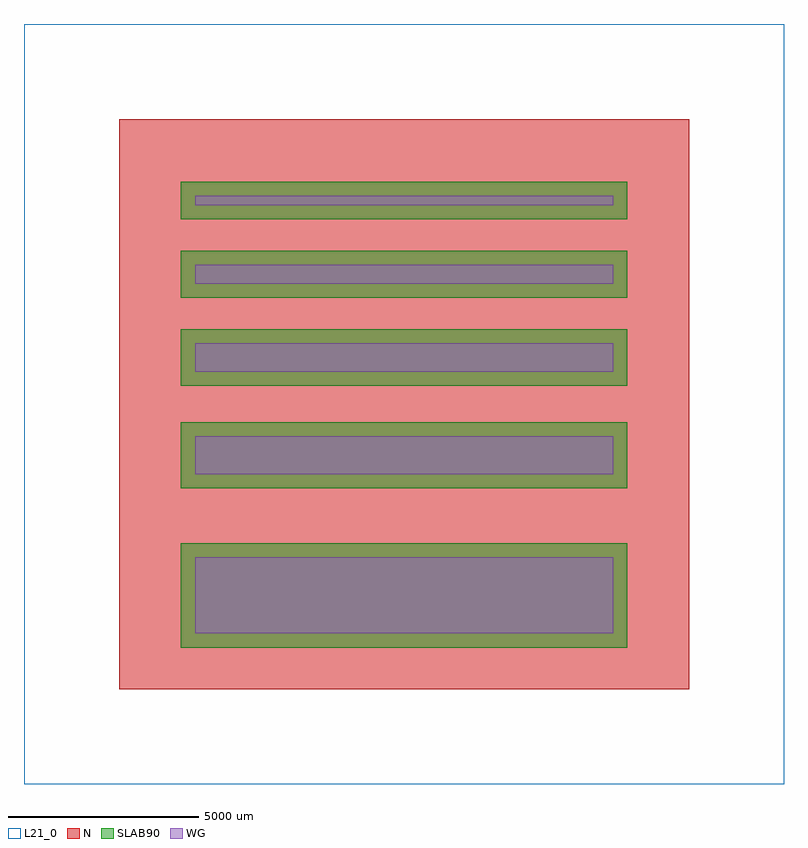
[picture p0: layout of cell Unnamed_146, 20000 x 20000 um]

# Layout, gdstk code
import gdstk
lib = gdstk.Library(unit=1e-6, precision=1e-09)
def R(c, l, rs):  # rectangles x0, y0, x1, y1
    for r in rs: c.add(gdstk.rectangle(r[:2], r[2:], *l))
WG = (1, 0)
SLAB90 = (3, 0)
N = (20, 0)
L21_0 = (21, 0)

rectangle_s11000_1000_l_ = lib.new_cell('rectangle_S11000_1000_L_7d1c9873')
R(rectangle_s11000_1000_l_, WG, [(0,0,11000,1000)])

rectangle_s11742p34_992_ = lib.new_cell('rectangle_S11742p34_992_5e8ff1e2')
R(rectangle_s11742p34_992_, SLAB90, [(0,0,11742.34,992.34)])

rectangle_s11000_250_l1_ = lib.new_cell('rectangle_S11000_250_L1_35af61c5')
R(rectangle_s11000_250_l1_, WG, [(0,0,11000,250)])

rectangle_s11742p34_124_ = lib.new_cell('rectangle_S11742p34_124_35634cfc')
R(rectangle_s11742p34_124_, SLAB90, [(0,0,11742.34,1242.34)])

rectangle_s11742p34_274_ = lib.new_cell('rectangle_S11742p34_274_6a9b768a')
R(rectangle_s11742p34_274_, SLAB90, [(0,0,11742.34,2742.34)])

rectangle_s11000_500_l1_ = lib.new_cell('rectangle_S11000_500_L1_e8eac09b')
R(rectangle_s11000_500_l1_, WG, [(0,0,11000,500)])

rectangle_s11000_2000_l_ = lib.new_cell('rectangle_S11000_2000_L_f2caadc2')
R(rectangle_s11000_2000_l_, WG, [(0,0,11000,2000)])

rectangle_s20000_20000__ = lib.new_cell('rectangle_S20000_20000__aa48e1ac')
R(rectangle_s20000_20000__, L21_0, [(0,0,20000,20000)])

rectangle_s11742p34_149_ = lib.new_cell('rectangle_S11742p34_149_befed679')
R(rectangle_s11742p34_149_, SLAB90, [(0,0,11742.34,1492.34)])

rectangle_s15000_15000__ = lib.new_cell('rectangle_S15000_15000__6a6c2047')
R(rectangle_s15000_15000__, N, [(0,0,15000,15000)])

rectangle_s11742p34_174_ = lib.new_cell('rectangle_S11742p34_174_d1575f04')
R(rectangle_s11742p34_174_, SLAB90, [(0,0,11742.34,1742.34)])

rectangle_s11000_750_l1_ = lib.new_cell('rectangle_S11000_750_L1_4aeca8e6')
R(rectangle_s11000_750_l1_, WG, [(0,0,11000,750)])

unnamed_146 = lib.new_cell('Unnamed_146')
unnamed_146.add(gdstk.Reference(rectangle_s11000_1000_l_, (-5500,-1846.17)))
unnamed_146.add(gdstk.Reference(rectangle_s11742p34_992_, (-5871.17,4859.68)))
unnamed_146.add(gdstk.Reference(rectangle_s11000_250_l1_, (-5500,5230.85)))
unnamed_146.add(gdstk.Reference(rectangle_s11742p34_124_, (-5871.17,2792.34)))
unnamed_146.add(gdstk.Reference(rectangle_s11742p34_274_, (-5871.17,-6409.68)))
unnamed_146.add(gdstk.Reference(rectangle_s11000_500_l1_, (-5500,3163.51)))
unnamed_146.add(gdstk.Reference(rectangle_s11000_2000_l_, (-5500,-6038.51)))
unnamed_146.add(gdstk.Reference(rectangle_s20000_20000__, (-10000,-10000)))
unnamed_146.add(gdstk.Reference(rectangle_s11742p34_149_, (-5871.17,475)))
unnamed_146.add(gdstk.Reference(rectangle_s15000_15000__, (-7500,-7500)))
unnamed_146.add(gdstk.Reference(rectangle_s11742p34_174_, (-5871.17,-2217.34)))
unnamed_146.add(gdstk.Reference(rectangle_s11000_750_l1_, (-5500,846.17)))

lib.write_gds('Unnamed_146.gds')
